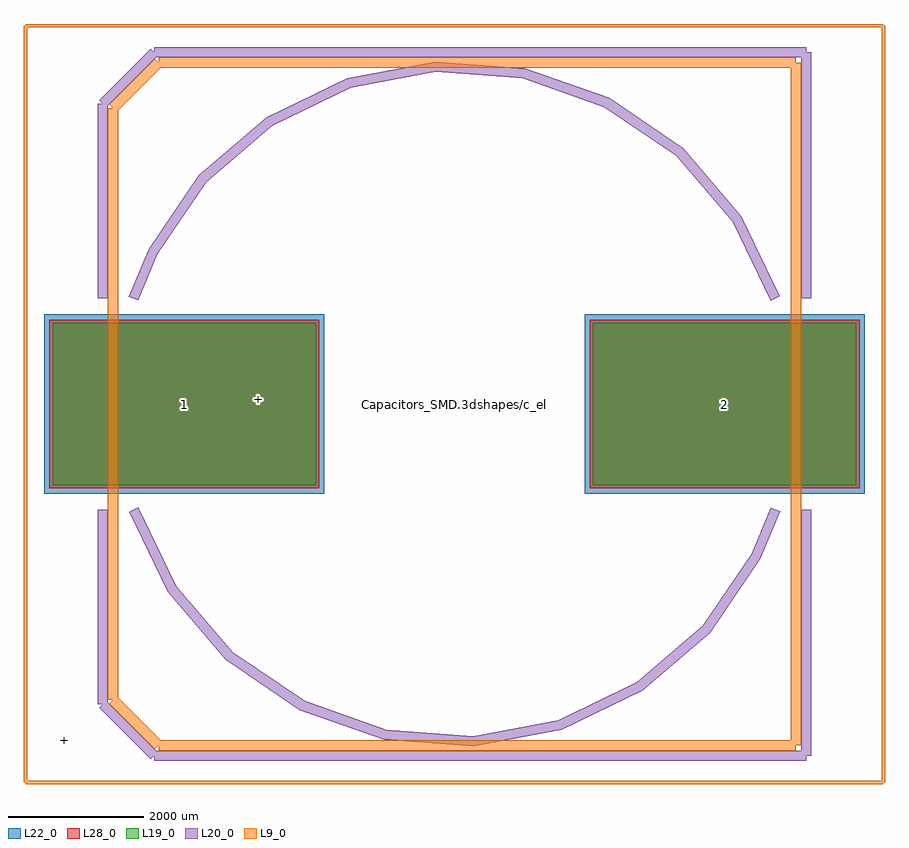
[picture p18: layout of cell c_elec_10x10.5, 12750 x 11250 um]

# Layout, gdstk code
import gdstk
lib = gdstk.Library(unit=1e-6, precision=1e-09)
def R(c, l, rs):  # rectangles x0, y0, x1, y1
    for r in rs: c.add(gdstk.rectangle(r[:2], r[2:], *l))
L9_0 = (9, 0)
L19_0 = (19, 0)
L20_0 = (20, 0)
L22_0 = (22, 0)
L28_0 = (28, 0)

c_elec_10x10_5 = lib.new_cell('c_elec_10x10.5')
R(c_elec_10x10_5, L19_0, [(-5950,-1200,-2050,1200), (2050,-1200,5950,1200)])
R(c_elec_10x10_5, L22_0, [(-6075,-1325,-1925,1325), (1925,-1325,6075,1325)])
R(c_elec_10x10_5, L28_0, [(-6000,-1250,-2000,1250), (2000,-1250,6000,1250)])
c_elec_10x10_5.add(gdstk.FlexPath([(-4445,5207),(5207,5207)], 149.998, ends="flush", simple_path=True, layer=20, datatype=0))  # L20_0
c_elec_10x10_5.add(gdstk.FlexPath([(-5207,4445),(-4445,5207)], 149.998, ends="flush", simple_path=True, layer=20, datatype=0))  # L20_0
c_elec_10x10_5.add(gdstk.FlexPath([(-4445,-5207),(-5207,-4445)], 149.998, ends="flush", simple_path=True, layer=20, datatype=0))  # L20_0
c_elec_10x10_5.add(gdstk.FlexPath([(5207,-5207),(-4445,-5207)], 149.998, ends="flush", simple_path=True, layer=20, datatype=0))  # L20_0
c_elec_10x10_5.add(gdstk.FlexPath([(6350,-5600),(6350,5600)], 50, ends="flush", simple_path=True, layer=9, datatype=0))  # L9_0
c_elec_10x10_5.add(gdstk.FlexPath([(-6350,-5600),(6350,-5600)], 50, ends="flush", simple_path=True, layer=9, datatype=0))  # L9_0
c_elec_10x10_5.add(gdstk.FlexPath([(-6350,5600),(-6350,-5600)], 50, ends="flush", simple_path=True, layer=9, datatype=0))  # L9_0
c_elec_10x10_5.add(gdstk.FlexPath([(6350,5600),(-6350,5600)], 50, ends="flush", simple_path=True, layer=9, datatype=0))  # L9_0
c_elec_10x10_5.add(gdstk.FlexPath([(5054.6,5054.6),(-4381.5,5054.6)], 149.998, ends="flush", simple_path=True, layer=9, datatype=0))  # L9_0
c_elec_10x10_5.add(gdstk.FlexPath([(-4381.5,5054.6),(-5054.6,4381.5)], 149.998, ends="flush", simple_path=True, layer=9, datatype=0))  # L9_0
c_elec_10x10_5.add(gdstk.FlexPath([(-5054.6,4381.5),(-5054.6,-4381.5)], 149.998, ends="flush", simple_path=True, layer=9, datatype=0))  # L9_0
c_elec_10x10_5.add(gdstk.FlexPath([(-5054.6,-4381.5),(-4381.5,-5054.6)], 149.998, ends="flush", simple_path=True, layer=9, datatype=0))  # L9_0
c_elec_10x10_5.add(gdstk.FlexPath([(-4381.5,-5054.6),(5054.6,-5054.6)], 149.998, ends="flush", simple_path=True, layer=9, datatype=0))  # L9_0
c_elec_10x10_5.add(gdstk.FlexPath([(5054.6,-5054.6),(5054.6,5054.6)], 149.998, ends="flush", simple_path=True, layer=9, datatype=0))  # L9_0
c_elec_10x10_5.add(gdstk.FlexPath([(4749.799,1562.1),(4183.652,2738.211),(3332.397,3727.718),(2254.044,4463.187),(1022.081,4894.497),(-279.534,4992.255),(-1562.1,4749.8),(-2738.212,4183.653),(-3727.718,3332.397),(-4463.187,2254.044),(-4749.8,1562.1)], 149.998, ends="flush", simple_path=True, layer=20, datatype=0))  # L20_0
c_elec_10x10_5.add(gdstk.FlexPath([(-4749.799,-1562.1),(-4183.652,-2738.211),(-3332.397,-3727.718),(-2254.044,-4463.187),(-1022.081,-4894.497),(279.534,-4992.255),(1562.1,-4749.8),(2738.212,-4183.653),(3727.718,-3332.397),(4463.187,-2254.044),(4749.8,-1562.1)], 149.998, ends="flush", simple_path=True, layer=20, datatype=0))  # L20_0
c_elec_10x10_5.add(gdstk.FlexPath([(5207,5207),(5207,1562.1)], 149.998, ends="flush", simple_path=True, layer=20, datatype=0))  # L20_0
c_elec_10x10_5.add(gdstk.FlexPath([(5207,-5207),(5207,-1562.1)], 149.998, ends="flush", simple_path=True, layer=20, datatype=0))  # L20_0
c_elec_10x10_5.add(gdstk.FlexPath([(-5207,-4445),(-5207,-1562.1)], 149.998, ends="flush", simple_path=True, layer=20, datatype=0))  # L20_0
c_elec_10x10_5.add(gdstk.FlexPath([(-5207,4445),(-5207,1562.1)], 149.998, ends="flush", simple_path=True, layer=20, datatype=0))  # L20_0
c_elec_10x10_5.add(gdstk.Label('Capacitors_SMD.3dshapes/c_elec_10x10.5.wrl', (0,0), layer=12, texttype=0))
c_elec_10x10_5.add(gdstk.Label('2', (4000,0), layer=28, texttype=0))
c_elec_10x10_5.add(gdstk.Label('1', (-4000,0), layer=28, texttype=0))
c_elec_10x10_5.add(gdstk.Label('+', (-5778.5,-4965.7), layer=9, texttype=0))
c_elec_10x10_5.add(gdstk.Label('+', (-2908.3,76.2), layer=9, texttype=0))
c_elec_10x10_5.add(gdstk.Label('type', (0,6464.3), layer=9, texttype=0))
c_elec_10x10_5.add(gdstk.Label('devicename', (0,-6464.3), layer=9, texttype=0))

lib.write_gds('c_elec_10x10.5.gds')
